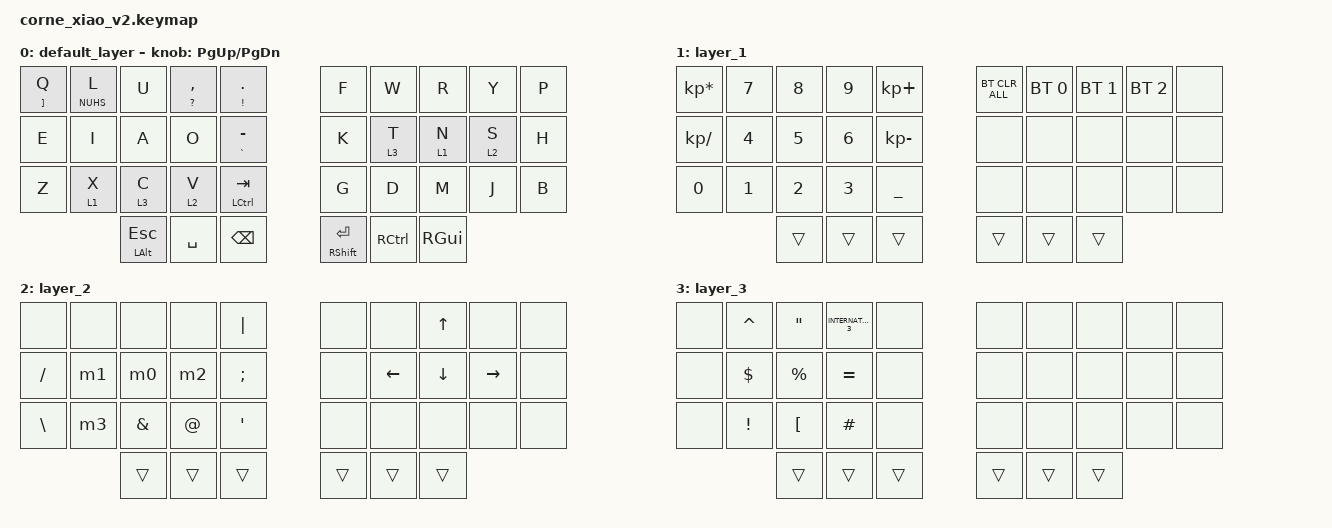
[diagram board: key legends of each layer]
#include <behaviors.dtsi>
#include <dt-bindings/zmk/keys.h>
#include <dt-bindings/zmk/bt.h>

/ {
    macros {
        m0: m0 { compatible = "zmk,behavior-macro"; #binding-cells = <0>; bindings = <&kp LPAR &kp RPAR>; };
        m1: m1 { compatible = "zmk,behavior-macro"; #binding-cells = <0>; bindings = <&kp LBKT &kp RBKT>; };
        m2: m2 { compatible = "zmk,behavior-macro"; #binding-cells = <0>; bindings = <&kp LBRC &kp RBRC>; };
        m3: m3 { compatible = "zmk,behavior-macro"; #binding-cells = <0>; bindings = <&kp LT &kp GT>; };
    };

    behaviors {
        // 共通のホールドタップ設定
        // &ht <長押しキー> <短押しキー> の順で使います
        ht: hold_tap {
            compatible = "zmk,behavior-hold-tap";
            #binding-cells = <2>;
            tapping-term-ms = <200>;    // 200ms以上で長押し判定
            quick-tap-ms = <175>;       // 素早く2回叩くと連打が可能
            flavor = "balanced";
            bindings = <&kp>, <&kp>;
        };
    };

    keymap {
        compatible = "zmk,keymap";

        default_layer {
            bindings = <
    // 1段目
    &ht RBKT Q     &ht NUHS L     &kp U          &ht QMARK COMMA &ht EXCL DOT    &kp F      &kp W      &kp R      &kp Y      &kp P
    // 2段目
    &kp E          &kp I          &kp A          &kp O           &ht GRAVE MINUS &kp K      &lt 3 T    &lt 1 N    &lt 2 S    &kp H
    // 3段目
    &kp Z          &lt 1 X        &lt 3 C        &lt 2 V         &ht LCTRL TAB   &kp G      &kp D      &kp M      &kp J      &kp B
    // 親指
                                  &ht LALT ESC   &kp SPACE       &kp BSPC        &ht RSHFT ENTER &kp RCTRL  &kp RGUI
            >;
	    sensor-bindings = <&inc_dec_kp PG_UP PG_DN>;
        };

        layer_1 {
            bindings = <
    &kp KP_MULTIPLY &kp N7        &kp N8         &kp N9          &kp KP_PLUS     &bt BT_CLR_ALL &bt BT_SEL 0 	&bt BT_SEL 1 	&bt BT_SEL 2    &none
    &kp KP_SLASH    &kp N4        &kp N5         &kp N6          &kp KP_MINUS    &none      	&none      	&none      	&none      	&none
    &kp N0          &kp N1        &kp N2         &kp N3          &kp UNDER       &none      	&none      	&none      	&none      	&none
                                  &trans         &trans          &trans          &trans     	&trans     	&trans
            >;	
        };

        layer_2 {
            bindings = <
    &none           &none         &none          &none           &kp PIPE        &none      &none      &kp UP     &none      &none
    &kp SLASH       &m1           &m0            &m2             &kp SEMI        &none      &kp LEFT   &kp DOWN   &kp RIGHT  &none
    &kp BSLH        &m3           &kp AMPS       &kp AT          &kp SQT         &none      &none      &none      &none      &none
                                  &trans         &trans          &trans          &trans     &trans     &trans
            >;
        };

        layer_3 {
            bindings = <
    &none           &kp CARET     &kp DQT        &kp INTERNATIONAL_3 &none       &none      &none      &none      &none      &none
    &none           &kp DLLR      &kp PRCNT      &kp EQUAL           &none       &none      &none      &none      &none      &none
    &none           &kp EXCL      &kp LBKT       &kp HASH            &none       &none      &none      &none      &none      &none
                                  &trans         &trans              &trans      &trans     &trans     &trans
            >;
        };
    };
};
